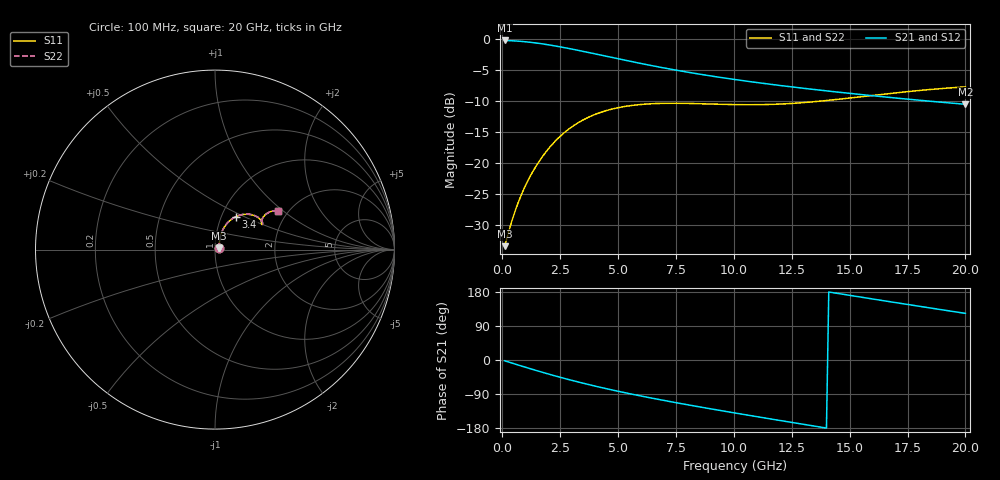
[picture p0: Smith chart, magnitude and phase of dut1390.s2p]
! Touchstone file exported from HFSS 2024.1.0
!  File:  C:/UserFiles/LocalFiles/RDL_TSV_Batchsim/temp_RDL_TSV_1390_1780403358.aedt
!  Generated:  08:48:59 PM Jun  2, 2026
!  Design:  RDL_TSV
!  Project:  temp_RDL_TSV_1390_1780403358
!  Setup:  Setup1
!  Solution:  Sweep
! Variables:
!  dtsv = 7.32um
!  hbump = 3um
!  htsv = 88.28um
!  ldown = 410.09um
!  lrdl = 524.16um
!  p = 40
!  p1 = 47.85um
!  rhole = 10um
!  subl = 3326.91um
!  t = 450um
!  tdown = 2.9um
!  trdl = 4.82um
!  viad = 10um
!  wdown = 25.84um
!  wrdl = 11.56um
!  xbump = 18um
# GHz S MA R 50.000000
! Terminal data exported
! Port[1] = TM1_1_T1
! Port[2] = TM1_4_T1
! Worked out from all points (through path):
!   200 points, 100 MHz to 20 GHz, reference 50 ohm
!   highest |S21| = -0.18 dB at 100 MHz (marker M1); lowest = -10.5 dB at 20 GHz (marker M2)
!   group delay of S21, straight-line fit = 31.2 ps
!   lowest |S11| = -33.4 dB at 100 MHz (marker M3), VSWR 1.04, Z = 52.1 + j0.686 ohm
!   |S11| at or under -10 dB: start of sweep to 13.71 GHz
!   |S22| runs from -33.4 to -7.7 dB; largest |S21 - S12| = 2.3e-14
!   S11 on the Smith chart (normalised r, x): 100 MHz: 1.04, +0.01; 3.4 GHz: 1.17, +0.45; 20 GHz: 1.78, +0.92
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0.1  0.02126 18.0  0.9796 -2.0  0.9796 -2.0  0.02126 18.0
! Gamma 0 0 0 0
! Port Impedance 50 0 50 0
0.4  0.03336 47.7  0.9747 -7.8  0.9747 -7.8  0.03335 47.7
0.7  0.04856 59.5  0.9669 -13.5  0.9669 -13.5  0.04855 59.5
1  0.06557 65.3  0.9562 -19.2  0.9562 -19.2  0.06558 65.3
1.4  0.09056 68.4  0.9377 -26.5  0.9377 -26.5  0.0906 68.5
1.9  0.124 68.2  0.9093 -35.4  0.9093 -35.4  0.1241 68.3
2.4  0.1578 65.6  0.8768 -44.0  0.8768 -44.0  0.158 65.7
2.9  0.1898 61.7  0.8419 -52.1  0.8419 -52.1  0.1901 61.8
3.4  0.2184 57.4  0.8061 -59.9  0.8061 -59.9  0.2188 57.5
3.5  0.2236 56.5  0.799 -61.4  0.799 -61.4  0.224 56.6
4.2  0.255 50.4  0.7496 -71.6  0.7496 -71.6  0.2556 50.5
5.1  0.2825 43.3  0.6903 -83.8  0.6903 -83.8  0.2833 43.4
5.9  0.2964 38.0  0.6428 -93.9  0.6428 -93.9  0.2974 38.1
6.8  0.3033 33.5  0.5958 -104.6  0.5958 -104.6  0.3044 33.6
8.4  0.3022 28.8  0.5275 -122.5  0.5275 -122.5  0.3035 28.9
10.1  0.2966 28.2  0.4717 -140.4  0.4717 -140.4  0.2979 28.2
11.7  0.2982 30.2  0.4303 -156.7  0.4303 -156.7  0.2996 30.1
13.4  0.3123 33.0  0.3944 -173.7  0.3944 -173.7  0.3136 32.9
15  0.3354 34.6  0.3658 170.6  0.3658 170.6  0.3365 34.5
16.7  0.3644 34.7  0.3395 154.2  0.3395 154.2  0.3654 34.6
18.3  0.3905 33.5  0.3181 139.0  0.3181 139.0  0.3914 33.4
20  0.4128 31.4  0.2984 123.0  0.2984 123.0  0.4138 31.3
